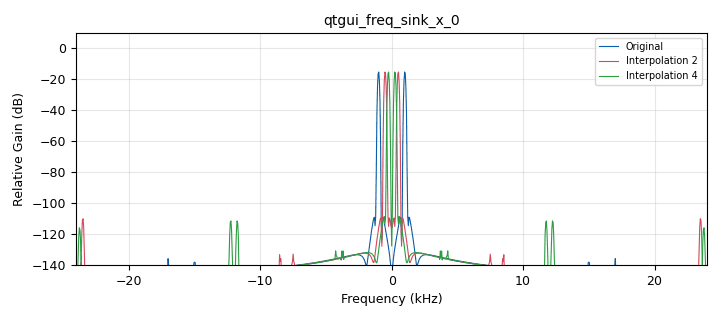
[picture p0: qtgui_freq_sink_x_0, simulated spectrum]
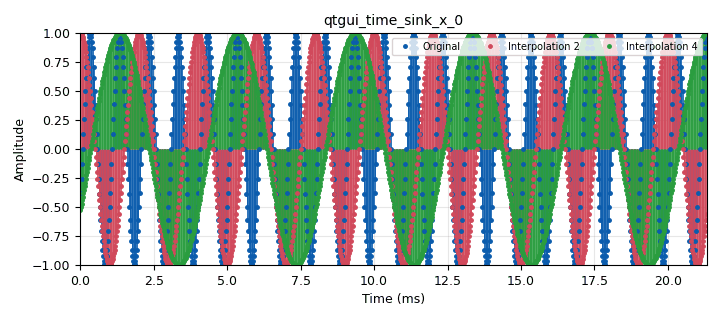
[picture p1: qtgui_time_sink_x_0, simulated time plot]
options:
  parameters:
    generate_options: qt_gui
    id: Practice_1_2
    output_language: python
    title: Practice_1_2
  states: {}

blocks:
- name: samp_rate
  id: variable
  parameters:
    value: '48000'
  states: {}
- name: analog_sig_source_x_0
  id: analog_sig_source_x
  parameters:
    amp: '1'
    freq: '1000'
    offset: '0'
    phase: '0'
    samp_rate: samp_rate
    type: float
    waveform: analog.GR_COS_WAVE
  states: {}
- name: analog_sig_source_x_0_0
  id: analog_sig_source_x
  parameters:
    amp: '1'
    freq: '1000'
    offset: '0'
    phase: '0'
    samp_rate: samp_rate
    type: float
    waveform: analog.GR_COS_WAVE
  states: {}
- name: analog_sig_source_x_0_1
  id: analog_sig_source_x
  parameters:
    amp: '1'
    freq: '1000'
    offset: '0'
    phase: '0'
    samp_rate: samp_rate
    type: float
    waveform: analog.GR_COS_WAVE
  states: {}
- name: blocks_throttle_0
  id: blocks_throttle
  parameters:
    samples_per_second: samp_rate
    type: float
  states: {}
- name: qtgui_freq_sink_x_0
  id: qtgui_freq_sink_x
  parameters:
    bw: samp_rate
    fc: '0'
    fftsize: '1024'
    label1: Original
    label2: Interpolation 2
    label3: Interpolation 4
    nconnections: '3'
    type: float
  states: {}
- name: qtgui_time_sink_x_0
  id: qtgui_time_sink_x
  parameters:
    label1: Original
    label2: Interpolation 2
    label3: Interpolation 4
    nconnections: '3'
    size: '1024'
    srate: samp_rate
    stemplot: 'True'
    type: float
  states: {}
- name: rational_resampler_xxx_0
  id: rational_resampler_xxx
  parameters:
    decim: '1'
    interp: '1'
    type: fff
  states: {}
- name: rational_resampler_xxx_0_0
  id: rational_resampler_xxx
  parameters:
    decim: '1'
    interp: '2'
    type: fff
  states: {}
- name: rational_resampler_xxx_0_1
  id: rational_resampler_xxx
  parameters:
    decim: '1'
    interp: '4'
    type: fff
  states: {}

connections:
- [analog_sig_source_x_0, '0', rational_resampler_xxx_0, '0']
- [analog_sig_source_x_0_0, '0', rational_resampler_xxx_0_0, '0']
- [analog_sig_source_x_0_1, '0', rational_resampler_xxx_0_1, '0']
- [blocks_throttle_0, '0', qtgui_freq_sink_x_0, '0']
- [blocks_throttle_0, '0', qtgui_time_sink_x_0, '0']
- [rational_resampler_xxx_0, '0', blocks_throttle_0, '0']
- [rational_resampler_xxx_0_0, '0', qtgui_freq_sink_x_0, '1']
- [rational_resampler_xxx_0_0, '0', qtgui_time_sink_x_0, '1']
- [rational_resampler_xxx_0_1, '0', qtgui_freq_sink_x_0, '2']
- [rational_resampler_xxx_0_1, '0', qtgui_time_sink_x_0, '2']

metadata:
  file_format: 1
